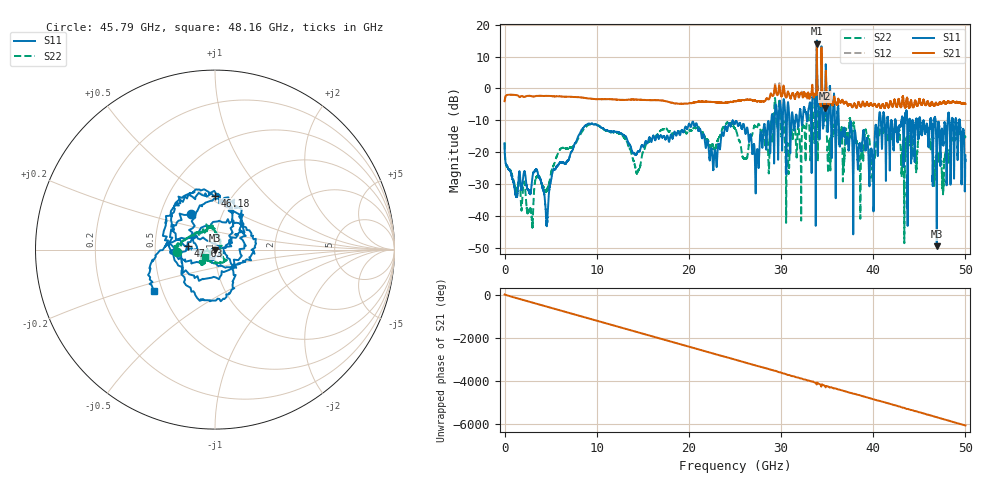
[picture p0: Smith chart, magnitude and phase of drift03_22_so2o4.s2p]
!Created with skrf (http://scikit-rf.org).
# Hz S RI R 50.0
!freq ReS11 ImS11 ReS21 ImS21 ReS12 ImS12 ReS22 ImS22
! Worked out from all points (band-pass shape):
!   10001 points, 300 kHz to 50 GHz, reference 50 ohm
!   highest |S21| = 14.09 dB at 33.88 GHz (marker M1); lowest = -6.3 dB at 34.79 GHz (marker M2)
!   |S21| within 3 dB of the highest: 33.86926 GHz to 33.88904 GHz (19.77 MHz wide, 0.0584 % of centre); 34.37661 GHz to 34.39062 GHz (14.01 MHz wide, 0.0408 % of centre)
!   lowest |S11| = -49.5 dB at 46.9 GHz (marker M3), VSWR 1.01, Z = 50.1 - j0.316 ohm
!   |S11| at or under -10 dB: start of sweep to 28.94 GHz; 36.26 GHz to 40.61 GHz (4.344 GHz wide, 11.3 % of centre); 46.74 GHz to 48.08 GHz (1.342 GHz wide, 2.83 % of centre) (the widest 3 of 61)
!   |S22| runs from -48.6 to 10.6 dB; largest |S21 - S12| = 0.82
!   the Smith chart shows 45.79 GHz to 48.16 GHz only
!   S11 on the Smith chart (normalised r, x): 45.79 GHz: 0.71, +0.30; 46.18 GHz: 0.83, +0.55; 47.63 GHz: 0.73, +0.03; 48.16 GHz: 0.45, -0.25
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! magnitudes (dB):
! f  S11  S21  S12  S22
! 300 kHz  -17.3  -4.0  -4.0  -16.9
! 2.825 GHz  -32.5  -2.4  -2.4  -38.3
! 4.565 GHz  -42.1  -2.3  -2.3  -32.1
! 8.335 GHz  -13.1  -2.8  -2.8  -13.9
! 14.43 GHz  -20.0  -3.5  -3.5  -26.4
! 16.67 GHz  -15.5  -3.7  -3.7  -14.3
! 22.82 GHz  -19.2  -4.3  -4.3  -19.1
! 25 GHz  -11.0  -4.0  -4.0  -12.5
! 27.39 GHz  -19.4  -4.1  -4.1  -12.3
! 29.6 GHz  -10.4  -2.0  -2.1  -11.8
! 30.7 GHz  -5.8  -1.5  -1.6  -17.3
! 33.34 GHz  -13.5  -0.6  -0.6  -7.4
! 33.88 GHz  15.1  14.1  13.7  10.6
! 34.79 GHz  -3.1  -6.3  -4.9  -8.6
! 39.81 GHz  -19.1  -5.0  -4.9  -23.7
! 41.67 GHz  -12.3  -6.0  -6.0  -15.5
! 45.79 GHz  -12.4  -5.0  -4.9  -13.4
! 46.18 GHz  -10.5  -5.4  -5.4  -18.2
! 46.9 GHz  -49.5  -4.9  -4.9  -22.4
! 47.63 GHz  -16.2  -4.1  -4.2  -26.4
! 48.16 GHz  -7.7  -4.1  -4.0  -22.8
! 50 GHz  -21.0  -4.9  -4.9  -15.1
